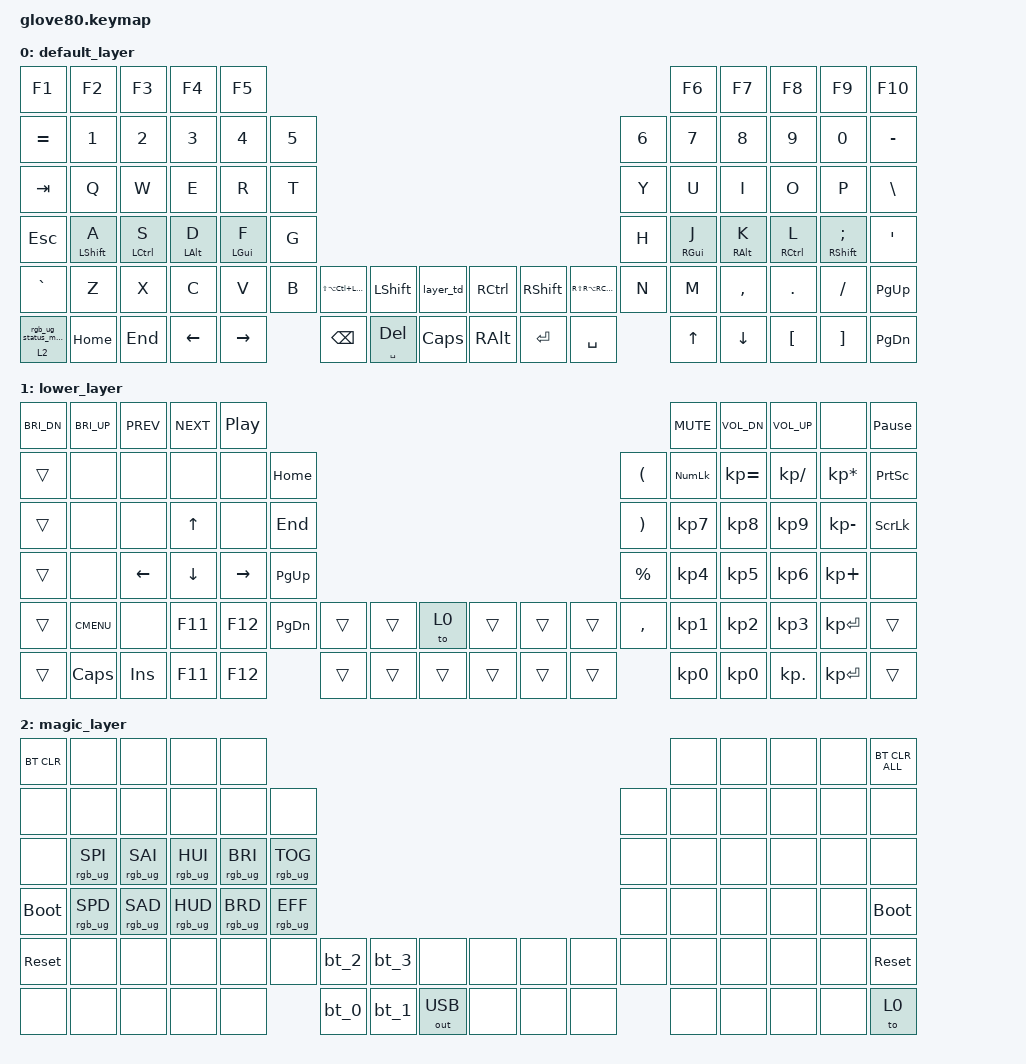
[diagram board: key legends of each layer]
/*
 * Copyright (c) 2020 The ZMK Contributors
 *
 * SPDX-License-Identifier: MIT
 */

#include <behaviors.dtsi>
#include <dt-bindings/zmk/bt.h>
#include <dt-bindings/zmk/keys.h>
#include <dt-bindings/zmk/outputs.h>
#include <dt-bindings/zmk/rgb.h>

#define HYPER LC(LS(LG(LALT)))

// layers

#define DEFAULT 0
#define LOWER 1
#define MAGIC 2
#define FACTORY_TEST 3

/ {
    behaviors {
        // For the "layer" key, it'd nice to be able to use it as either a shift or a toggle.
        // Configure it as a tap dance, so the first tap (or hold) is a &mo and the second tap is a &to

        layer_td: tap_dance_0 {
            compatible = "zmk,behavior-tap-dance";
            label = "LAYER_TAP_DANCE";
            #binding-cells = <0>;
            tapping-term-ms = <200>;
            bindings = <&mo 1>, <&to 1>;
        };

        magic: magic_hold_tap {
            compatible = "zmk,behavior-hold-tap";
            label = "MAGIC_HOLD_TAP";
            #binding-cells = <2>;
            flavor = "tap-preferred";
            tapping-term-ms = <150>;
            bindings = <&mo>, <&rgb_ug_status_macro>;
        };

        HRM_L: HRM_L {
            compatible = "zmk,behavior-hold-tap";
            label = "HRM_L";
            bindings = <&kp>, <&kp>;

            #binding-cells = <2>;
            tapping-term-ms = <250>;
            quick-tap-ms = <125>;
            require-prior-idle-ms = <150>;
            hold-trigger-on-release;
            hold-trigger-key-positions = <0 1 2 3 4 10 11 12 13 14 15 22 23 24 25 26 27 34 35 36 37 38 39 46 47 48 49 50 51 53 54 64 65 66 67 68 69 70>;
            flavor = "balanced";
        };

        HRM_R: HRM_R {
            compatible = "zmk,behavior-hold-tap";
            label = "HRM_R";
            bindings = <&kp>, <&kp>;

            #binding-cells = <2>;
            tapping-term-ms = <250>;
            quick-tap-ms = <125>;
            require-prior-idle-ms = <150>;
            hold-trigger-on-release;
            hold-trigger-key-positions = <5 6 7 8 9 16 17 18 19 20 21 28 29 30 31 32 33 40 41 42 43 44 45 55 56 58 59 60 61 62 63 73 74 75 76 77 78 79>;
            flavor = "balanced";
        };

        HRM_LSHIFT: HRM_LSHIFT {
            compatible = "zmk,behavior-hold-tap";
            label = "HRM_LSHIFT";
            bindings = <&kp>, <&kp>;

            #binding-cells = <2>;
            tapping-term-ms = <180>;
            quick-tap-ms = <125>;
            require-prior-idle-ms = <120>;
            hold-trigger-on-release;
            hold-trigger-key-positions = <0 1 2 3 4 10 11 12 13 14 15 22 23 24 25 26 27 34 35 36 37 38 39 46 47 48 49 50 51 53 54 64 65 66 67 68 69 70>;
            flavor = "balanced";
            retro-tap;
        };

        HRM_RSHIFT: HRM_RSHIFT {
            compatible = "zmk,behavior-hold-tap";
            label = "HRM_RSHIFT";
            bindings = <&kp>, <&kp>;

            #binding-cells = <2>;
            tapping-term-ms = <180>;
            quick-tap-ms = <125>;
            require-prior-idle-ms = <120>;
            hold-trigger-on-release;
            hold-trigger-key-positions = <5 6 7 8 9 16 17 18 19 20 21 28 29 30 31 32 33 40 41 42 43 44 45 55 56 58 59 60 61 62 63 73 74 75 76 77 78 79>;
            flavor = "balanced";
            retro-tap;
        };
    };

    macros {
        rgb_ug_status_macro: rgb_ug_status_macro_0 {
            label = "RGB_UG_STATUS";
            compatible = "zmk,behavior-macro";
            #binding-cells = <0>;
            bindings = <&rgb_ug RGB_STATUS>;
        };

        bt_0: bt_profile_macro_0 {
            label = "BT_0";
            compatible = "zmk,behavior-macro";
            #binding-cells = <0>;
            bindings = <&out OUT_BLE &bt BT_SEL 0>;
        };

        bt_1: bt_profile_macro_1 {
            label = "BT_1";
            compatible = "zmk,behavior-macro";
            #binding-cells = <0>;
            bindings = <&out OUT_BLE &bt BT_SEL 1>;
        };

        bt_2: bt_profile_macro_2 {
            label = "BT_2";
            compatible = "zmk,behavior-macro";
            #binding-cells = <0>;
            bindings = <&out OUT_BLE &bt BT_SEL 2>;
        };

        bt_3: bt_profile_macro_3 {
            label = "BT_3";
            compatible = "zmk,behavior-macro";
            #binding-cells = <0>;
            bindings = <&out OUT_BLE &bt BT_SEL 3>;
        };
    };

    combos {
        compatible = "zmk,combos";

        rbkt {
            bindings = <&kp RIGHT_BRACKET>;
            key-positions = <39 29>;
        };

        lbkt {
            bindings = <&kp LEFT_BRACKET>;
            key-positions = <28 39>;
        };

        pipe {
            bindings = <&kp PIPE>;
            key-positions = <39 40>;
        };

        plus {
            bindings = <&kp PLUS>;
            key-positions = <39 41>;
        };

        minus {
            bindings = <&kp PLUS>;
            key-positions = <39 42>;
        };

        eq {
            bindings = <&kp KP_EQUAL>;
            key-positions = <39 43>;
        };
    };

    keymap {
        compatible = "zmk,keymap";

        default_layer {
            // ---------------------------------------------------------------------------------------------------------------------------------
            // |  F1   |  F2 |  F3 |  F4  |  F5  |                                                               |  F6   |  F7   |  F8  |   F9  |  F10 |
            // |  =    |  1  |  2  |  3   |  4   |  5   |                                                 |  6   |   7   |   8   |  9   |   0   |   -  |
            // |  TAB  |  Q  |  W  |  E   |  R   |  T   |                                                 |  Y   |   U   |   I   |  O   |   P   |   \  |
            // |  ESC  |  A  |  S  |  D   |  F   |  G   |                                                 |  H   |   J   |   K   |  L   |   ;   |   '  |
            // |   `   |  Z  |  X  |  C   |  V   |  B   | LSHFT | LCTRL | LOWER | | LGUI  | RCTRL | RSHFT |  N   |   M   |   ,   |  .   |   /   | PGUP |
            // | MAGIC | HOME| END | LEFT | RIGHT|      | BSPC  | DEL   | LALT  | | RALT  | RET   | SPACE |      |  UP   | DOWN  |  [   |   ]   | PGDN |

            bindings = <
&kp F1      &kp F2               &kp F3          &kp F4         &kp F5                                                                                                                      &kp F6              &kp F7              &kp F8          &kp F9                       &kp F10
&kp EQUAL   &kp N1               &kp N2          &kp N3         &kp N4         &kp N5                                                                                               &kp N6  &kp N7              &kp N8              &kp N9          &kp N0                       &kp MINUS
&kp TAB     &kp Q                &kp W           &kp E          &kp R          &kp T                                                                                                &kp Y   &kp U               &kp I               &kp O           &kp P                        &kp BSLH
&kp ESC     &HRM_LSHIFT LSHFT A  &HRM_L LCTRL S  &HRM_L LALT D  &HRM_L LGUI F  &kp G                                                                                                &kp H   &HRM_R RIGHT_GUI J  &HRM_R RIGHT_ALT K  &HRM_R RCTRL L  &HRM_RSHIFT RSHFT SEMICOLON  &kp SQT
&kp GRAVE   &kp Z                &kp X           &kp C          &kp V          &kp B   &kp LS(LA(LC(LGUI)))  &kp LSHIFT     &layer_td  &kp RCTRL  &kp RSHFT  &kp RS(RA(RC(RMETA)))  &kp N   &kp M               &kp COMMA           &kp DOT         &kp FSLH                     &kp PG_UP
&magic 2 0  &kp HOME             &kp END         &kp LEFT       &kp RIGHT              &kp BSPC              &mt SPACE DEL  &kp CAPS   &kp RALT   &kp RET    &kp SPACE                      &kp UP              &kp DOWN            &kp LBKT        &kp RBKT                     &kp PG_DN
            >;
        };

        lower_layer {
            bindings = <
&kp C_BRI_DN  &kp C_BRI_UP  &kp C_PREV  &kp C_NEXT  &kp C_PP                                                                         &kp C_MUTE  &kp C_VOL_DN  &kp C_VOL_UP   &none            &kp PAUSE_BREAK
&trans        &none         &none       &none       &none      &kp HOME                                                   &kp LPAR   &kp KP_NUM  &kp KP_EQUAL  &kp KP_DIVIDE  &kp KP_MULTIPLY  &kp PSCRN
&trans        &none         &none       &kp UP      &none      &kp END                                                    &kp RPAR   &kp KP_N7   &kp KP_N8     &kp KP_N9      &kp KP_MINUS     &kp SLCK
&trans        &none         &kp LEFT    &kp DOWN    &kp RIGHT  &kp PG_UP                                                  &kp PRCNT  &kp KP_N4   &kp KP_N5     &kp KP_N6      &kp KP_PLUS      &none
&trans        &kp K_CMENU   &none       &kp F11     &kp F12    &kp PG_DN  &trans  &trans  &to 0   &trans  &trans  &trans  &kp COMMA  &kp KP_N1   &kp KP_N2     &kp KP_N3      &kp KP_ENTER     &trans
&trans        &kp CAPS      &kp INS     &kp F11     &kp F12               &trans  &trans  &trans  &trans  &trans  &trans             &kp KP_N0   &kp KP_N0     &kp KP_DOT     &kp KP_ENTER     &trans
            >;
        };

        magic_layer {
            bindings = <
&bt BT_CLR   &none            &none            &none            &none                                                                                     &none  &none  &none  &none  &bt BT_CLR_ALL
&none        &none            &none            &none            &none            &none                                                             &none  &none  &none  &none  &none  &none
&none        &rgb_ug RGB_SPI  &rgb_ug RGB_SAI  &rgb_ug RGB_HUI  &rgb_ug RGB_BRI  &rgb_ug RGB_TOG                                                   &none  &none  &none  &none  &none  &none
&bootloader  &rgb_ug RGB_SPD  &rgb_ug RGB_SAD  &rgb_ug RGB_HUD  &rgb_ug RGB_BRD  &rgb_ug RGB_EFF                                                   &none  &none  &none  &none  &none  &bootloader
&sys_reset   &none            &none            &none            &none            &none            &bt_2  &bt_3  &none         &none  &none  &none  &none  &none  &none  &none  &none  &sys_reset
&none        &none            &none            &none            &none                             &bt_0  &bt_1  &out OUT_USB  &none  &none  &none         &none  &none  &none  &none  &to 0
            >;
        };
    };
};
